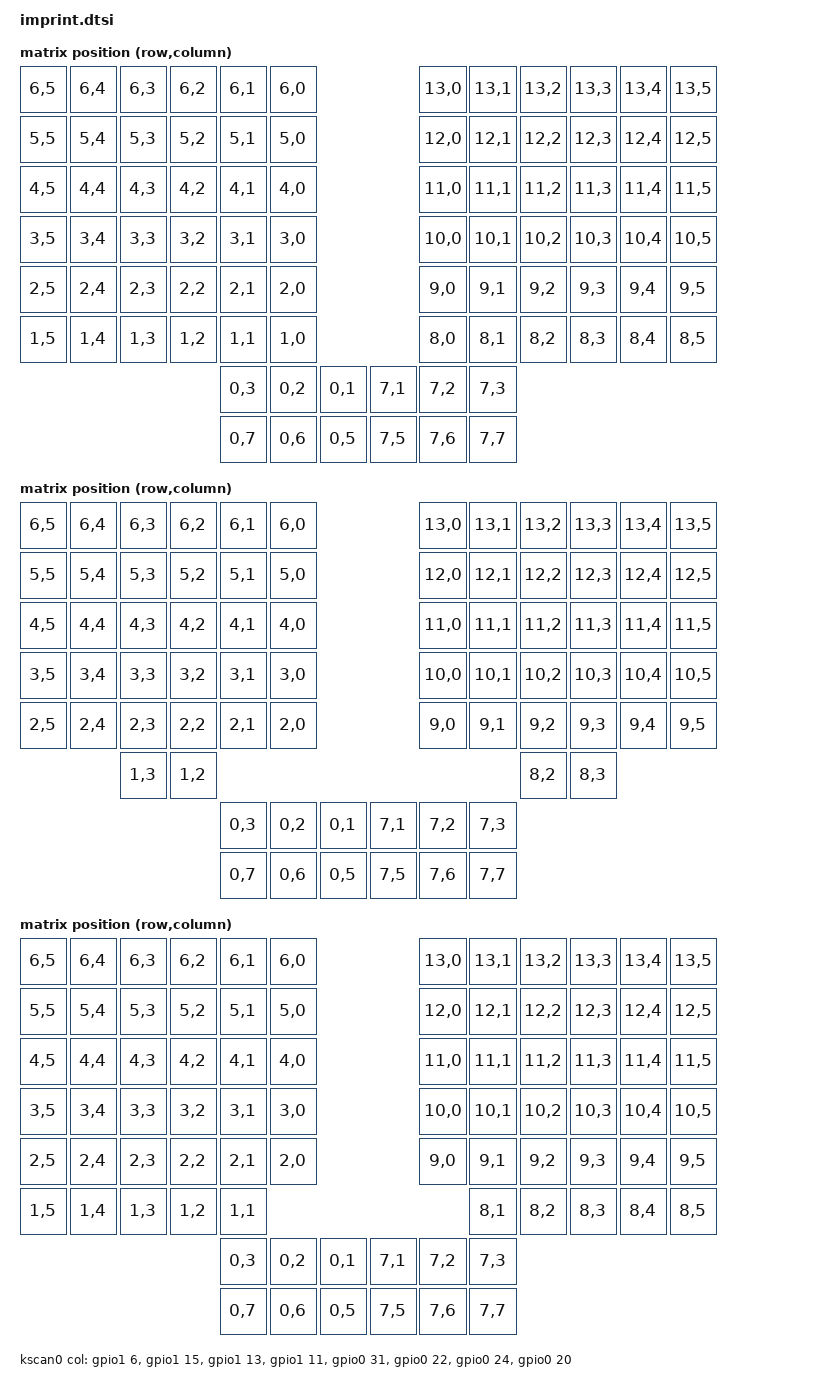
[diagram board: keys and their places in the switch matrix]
// Imprint shield devicetree include.
// Defines all matrix transforms and the keyboard scan (kscan) GPIO matrix.
// Trackball / PMW3610 nodes have been intentionally omitted — this build
// does not use trackballs.  If you add trackballs in the future, refer to
// the upstream Cyboard-DigitalTailor/zmk-keyboards repo for those nodes.

#include <dt-bindings/zmk/matrix_transform.h>

/ {
    chosen {
        zmk,kscan = &kscan0;
        // Active matrix transform is selected in config/imprint.keymap via:
        //   chosen { zmk,matrix_transform = &dactyl_manuform_number_row; };
        // Override here if you want a different default at the shield level.
        zmk,matrix_transform = &imprint_function_row;
    };

    // -----------------------------------------------------------------------
    // Matrix transforms
    // Each transform maps physical key positions (rows/cols from the GPIO
    // matrix) to logical key indices used by the keymap.  Only one transform
    // is active at a time; it is selected via the zmk,matrix_transform chosen
    // node, either here or in your keymap file.
    //
    // Rows 0-6   = left half
    // Rows 7-13  = right half (right overlay sets row-offset = <7>)
    // -----------------------------------------------------------------------

    // All key positions — 6 main columns + 6 thumb keys per side.
    default_transform: keymap_transform_0 {
        compatible = "zmk,matrix-transform";
        columns = <8>;
        rows = <14>;
        map = <
RC(6,5) RC(6,4) RC(6,3) RC(6,2) RC(6,1) RC(6,0)                           RC(13,0) RC(13,1) RC(13,2) RC(13,3) RC(13,4) RC(13,5)
RC(5,5) RC(5,4) RC(5,3) RC(5,2) RC(5,1) RC(5,0)                           RC(12,0) RC(12,1) RC(12,2) RC(12,3) RC(12,4) RC(12,5)
RC(4,5) RC(4,4) RC(4,3) RC(4,2) RC(4,1) RC(4,0)                           RC(11,0) RC(11,1) RC(11,2) RC(11,3) RC(11,4) RC(11,5)
RC(3,5) RC(3,4) RC(3,3) RC(3,2) RC(3,1) RC(3,0)                           RC(10,0) RC(10,1) RC(10,2) RC(10,3) RC(10,4) RC(10,5)
RC(2,5) RC(2,4) RC(2,3) RC(2,2) RC(2,1) RC(2,0)                           RC(9,0)  RC(9,1)  RC(9,2)  RC(9,3)  RC(9,4)  RC(9,5)
RC(1,5) RC(1,4) RC(1,3) RC(1,2) RC(1,1) RC(1,0)                           RC(8,0)  RC(8,1)  RC(8,2)  RC(8,3)  RC(8,4)  RC(8,5)
                                    RC(0,3) RC(0,2) RC(0,1)   RC(7,1) RC(7,2) RC(7,3)
                                    RC(0,7) RC(0,6) RC(0,5)   RC(7,5) RC(7,6) RC(7,7)
        >;
    };

    // Imprint body with function row on top + 2-key inner bottom row per side.
    imprint_function_row: keymap_transform_1 {
        compatible = "zmk,matrix-transform";
        columns = <8>;
        rows = <14>;
        map = <
RC(6,5) RC(6,4) RC(6,3) RC(6,2) RC(6,1) RC(6,0)                           RC(13,0) RC(13,1) RC(13,2) RC(13,3) RC(13,4) RC(13,5)
RC(5,5) RC(5,4) RC(5,3) RC(5,2) RC(5,1) RC(5,0)                           RC(12,0) RC(12,1) RC(12,2) RC(12,3) RC(12,4) RC(12,5)
RC(4,5) RC(4,4) RC(4,3) RC(4,2) RC(4,1) RC(4,0)                           RC(11,0) RC(11,1) RC(11,2) RC(11,3) RC(11,4) RC(11,5)
RC(3,5) RC(3,4) RC(3,3) RC(3,2) RC(3,1) RC(3,0)                           RC(10,0) RC(10,1) RC(10,2) RC(10,3) RC(10,4) RC(10,5)
RC(2,5) RC(2,4) RC(2,3) RC(2,2) RC(2,1) RC(2,0)                           RC(9,0)  RC(9,1)  RC(9,2)  RC(9,3)  RC(9,4)  RC(9,5)
                RC(1,3) RC(1,2)                                                             RC(8,2)  RC(8,3)
                                    RC(0,3) RC(0,2) RC(0,1)   RC(7,1) RC(7,2) RC(7,3)
                                    RC(0,7) RC(0,6) RC(0,5)   RC(7,5) RC(7,6) RC(7,7)
        >;
    };

    // Imprint body with function row + full 5-key bottom row per side.
    imprint_function_row_full_bottom_row: keymap_transform_2 {
        compatible = "zmk,matrix-transform";
        columns = <8>;
        rows = <14>;
        map = <
RC(6,5) RC(6,4) RC(6,3) RC(6,2) RC(6,1) RC(6,0)                           RC(13,0) RC(13,1) RC(13,2) RC(13,3) RC(13,4) RC(13,5)
RC(5,5) RC(5,4) RC(5,3) RC(5,2) RC(5,1) RC(5,0)                           RC(12,0) RC(12,1) RC(12,2) RC(12,3) RC(12,4) RC(12,5)
RC(4,5) RC(4,4) RC(4,3) RC(4,2) RC(4,1) RC(4,0)                           RC(11,0) RC(11,1) RC(11,2) RC(11,3) RC(11,4) RC(11,5)
RC(3,5) RC(3,4) RC(3,3) RC(3,2) RC(3,1) RC(3,0)                           RC(10,0) RC(10,1) RC(10,2) RC(10,3) RC(10,4) RC(10,5)
RC(2,5) RC(2,4) RC(2,3) RC(2,2) RC(2,1) RC(2,0)                           RC(9,0)  RC(9,1)  RC(9,2)  RC(9,3)  RC(9,4)  RC(9,5)
RC(1,5) RC(1,4) RC(1,3) RC(1,2) RC(1,1)                                            RC(8,1)  RC(8,2)  RC(8,3)  RC(8,4)  RC(8,5)
                                    RC(0,3) RC(0,2) RC(0,1)   RC(7,1) RC(7,2) RC(7,3)
                                    RC(0,7) RC(0,6) RC(0,5)   RC(7,5) RC(7,6) RC(7,7)
        >;
    };

    // Imprint body with function row + no bottom row.
    imprint_function_row_no_bottom_row: keymap_transform_3 {
        compatible = "zmk,matrix-transform";
        columns = <8>;
        rows = <14>;
        map = <
RC(6,5) RC(6,4) RC(6,3) RC(6,2) RC(6,1) RC(6,0)                           RC(13,0) RC(13,1) RC(13,2) RC(13,3) RC(13,4) RC(13,5)
RC(5,5) RC(5,4) RC(5,3) RC(5,2) RC(5,1) RC(5,0)                           RC(12,0) RC(12,1) RC(12,2) RC(12,3) RC(12,4) RC(12,5)
RC(4,5) RC(4,4) RC(4,3) RC(4,2) RC(4,1) RC(4,0)                           RC(11,0) RC(11,1) RC(11,2) RC(11,3) RC(11,4) RC(11,5)
RC(3,5) RC(3,4) RC(3,3) RC(3,2) RC(3,1) RC(3,0)                           RC(10,0) RC(10,1) RC(10,2) RC(10,3) RC(10,4) RC(10,5)
RC(2,5) RC(2,4) RC(2,3) RC(2,2) RC(2,1) RC(2,0)                           RC(9,0)  RC(9,1)  RC(9,2)  RC(9,3)  RC(9,4)  RC(9,5)
                                    RC(0,3) RC(0,2) RC(0,1)   RC(7,1) RC(7,2) RC(7,3)
                                    RC(0,7) RC(0,6) RC(0,5)   RC(7,5) RC(7,6) RC(7,7)
        >;
    };

    // Imprint body with number row on top + 2-key inner bottom row per side.
    imprint_number_row: keymap_transform_4 {
        compatible = "zmk,matrix-transform";
        columns = <8>;
        rows = <14>;
        map = <
RC(5,5) RC(5,4) RC(5,3) RC(5,2) RC(5,1) RC(5,0)                           RC(12,0) RC(12,1) RC(12,2) RC(12,3) RC(12,4) RC(12,5)
RC(4,5) RC(4,4) RC(4,3) RC(4,2) RC(4,1) RC(4,0)                           RC(11,0) RC(11,1) RC(11,2) RC(11,3) RC(11,4) RC(11,5)
RC(3,5) RC(3,4) RC(3,3) RC(3,2) RC(3,1) RC(3,0)                           RC(10,0) RC(10,1) RC(10,2) RC(10,3) RC(10,4) RC(10,5)
RC(2,5) RC(2,4) RC(2,3) RC(2,2) RC(2,1) RC(2,0)                           RC(9,0)  RC(9,1)  RC(9,2)  RC(9,3)  RC(9,4)  RC(9,5)
                RC(1,3) RC(1,2)                                                             RC(8,2)  RC(8,3)
                                    RC(0,3) RC(0,2) RC(0,1)   RC(7,1) RC(7,2) RC(7,3)
                                    RC(0,7) RC(0,6) RC(0,5)   RC(7,5) RC(7,6) RC(7,7)
        >;
    };

    // Imprint body with number row + full 5-key bottom row per side.
    imprint_number_row_full_bottom_row: keymap_transform_5 {
        compatible = "zmk,matrix-transform";
        columns = <8>;
        rows = <14>;
        map = <
RC(5,5) RC(5,4) RC(5,3) RC(5,2) RC(5,1) RC(5,0)                           RC(12,0) RC(12,1) RC(12,2) RC(12,3) RC(12,4) RC(12,5)
RC(4,5) RC(4,4) RC(4,3) RC(4,2) RC(4,1) RC(4,0)                           RC(11,0) RC(11,1) RC(11,2) RC(11,3) RC(11,4) RC(11,5)
RC(3,5) RC(3,4) RC(3,3) RC(3,2) RC(3,1) RC(3,0)                           RC(10,0) RC(10,1) RC(10,2) RC(10,3) RC(10,4) RC(10,5)
RC(2,5) RC(2,4) RC(2,3) RC(2,2) RC(2,1) RC(2,0)                           RC(9,0)  RC(9,1)  RC(9,2)  RC(9,3)  RC(9,4)  RC(9,5)
RC(1,5) RC(1,4) RC(1,3) RC(1,2) RC(1,1)                                            RC(8,1)  RC(8,2)  RC(8,3)  RC(8,4)  RC(8,5)
                                    RC(0,3) RC(0,2) RC(0,1)   RC(7,1) RC(7,2) RC(7,3)
                                    RC(0,7) RC(0,6) RC(0,5)   RC(7,5) RC(7,6) RC(7,7)
        >;
    };

    // Imprint body with number row + no bottom row.
    imprint_number_row_no_bottom_row: keymap_transform_6 {
        compatible = "zmk,matrix-transform";
        columns = <8>;
        rows = <14>;
        map = <
RC(5,5) RC(5,4) RC(5,3) RC(5,2) RC(5,1) RC(5,0)                           RC(12,0) RC(12,1) RC(12,2) RC(12,3) RC(12,4) RC(12,5)
RC(4,5) RC(4,4) RC(4,3) RC(4,2) RC(4,1) RC(4,0)                           RC(11,0) RC(11,1) RC(11,2) RC(11,3) RC(11,4) RC(11,5)
RC(3,5) RC(3,4) RC(3,3) RC(3,2) RC(3,1) RC(3,0)                           RC(10,0) RC(10,1) RC(10,2) RC(10,3) RC(10,4) RC(10,5)
RC(2,5) RC(2,4) RC(2,3) RC(2,2) RC(2,1) RC(2,0)                           RC(9,0)  RC(9,1)  RC(9,2)  RC(9,3)  RC(9,4)  RC(9,5)
                                    RC(0,3) RC(0,2) RC(0,1)   RC(7,1) RC(7,2) RC(7,3)
                                    RC(0,7) RC(0,6) RC(0,5)   RC(7,5) RC(7,6) RC(7,7)
        >;
    };

    // Imprint body, letters-only (no number/function row) + 2-key inner bottom row.
    imprint_letters_only: keymap_transform_7 {
        compatible = "zmk,matrix-transform";
        columns = <8>;
        rows = <14>;
        map = <
RC(4,5) RC(4,4) RC(4,3) RC(4,2) RC(4,1) RC(4,0)                           RC(11,0) RC(11,1) RC(11,2) RC(11,3) RC(11,4) RC(11,5)
RC(3,5) RC(3,4) RC(3,3) RC(3,2) RC(3,1) RC(3,0)                           RC(10,0) RC(10,1) RC(10,2) RC(10,3) RC(10,4) RC(10,5)
RC(2,5) RC(2,4) RC(2,3) RC(2,2) RC(2,1) RC(2,0)                           RC(9,0)  RC(9,1)  RC(9,2)  RC(9,3)  RC(9,4)  RC(9,5)
                RC(1,3) RC(1,2)                                                             RC(8,2)  RC(8,3)
                                    RC(0,3) RC(0,2) RC(0,1)   RC(7,1) RC(7,2) RC(7,3)
                                    RC(0,7) RC(0,6) RC(0,5)   RC(7,5) RC(7,6) RC(7,7)
        >;
    };

    // Imprint body, letters-only + full 5-key bottom row per side.
    imprint_letters_only_full_bottom_row: keymap_transform_8 {
        compatible = "zmk,matrix-transform";
        columns = <8>;
        rows = <14>;
        map = <
RC(4,5) RC(4,4) RC(4,3) RC(4,2) RC(4,1) RC(4,0)                           RC(11,0) RC(11,1) RC(11,2) RC(11,3) RC(11,4) RC(11,5)
RC(3,5) RC(3,4) RC(3,3) RC(3,2) RC(3,1) RC(3,0)                           RC(10,0) RC(10,1) RC(10,2) RC(10,3) RC(10,4) RC(10,5)
RC(2,5) RC(2,4) RC(2,3) RC(2,2) RC(2,1) RC(2,0)                           RC(9,0)  RC(9,1)  RC(9,2)  RC(9,3)  RC(9,4)  RC(9,5)
RC(1,5) RC(1,4) RC(1,3) RC(1,2) RC(1,1)                                            RC(8,1)  RC(8,2)  RC(8,3)  RC(8,4)  RC(8,5)
                                    RC(0,3) RC(0,2) RC(0,1)   RC(7,1) RC(7,2) RC(7,3)
                                    RC(0,7) RC(0,6) RC(0,5)   RC(7,5) RC(7,6) RC(7,7)
        >;
    };

    // Imprint body, letters-only + no bottom row.
    imprint_letters_only_no_bottom_row: keymap_transform_9 {
        compatible = "zmk,matrix-transform";
        columns = <8>;
        rows = <14>;
        map = <
RC(4,5) RC(4,4) RC(4,3) RC(4,2) RC(4,1) RC(4,0)                           RC(11,0) RC(11,1) RC(11,2) RC(11,3) RC(11,4) RC(11,5)
RC(3,5) RC(3,4) RC(3,3) RC(3,2) RC(3,1) RC(3,0)                           RC(10,0) RC(10,1) RC(10,2) RC(10,3) RC(10,4) RC(10,5)
RC(2,5) RC(2,4) RC(2,3) RC(2,2) RC(2,1) RC(2,0)                           RC(9,0)  RC(9,1)  RC(9,2)  RC(9,3)  RC(9,4)  RC(9,5)
                                    RC(0,3) RC(0,2) RC(0,1)   RC(7,1) RC(7,2) RC(7,3)
                                    RC(0,7) RC(0,6) RC(0,5)   RC(7,5) RC(7,6) RC(7,7)
        >;
    };

    // Dactyl Manuform body with number row + 4-key bottom row per side.
    // THIS IS THE ACTIVE TRANSFORM for this build — selected in config/imprint.keymap.
    dactyl_manuform_number_row: keymap_transform_10 {
        compatible = "zmk,matrix-transform";
        columns = <8>;
        rows = <14>;
        map = <
RC(5,5) RC(5,4) RC(5,3) RC(5,2) RC(5,1) RC(5,0)                           RC(12,0) RC(12,1) RC(12,2) RC(12,3) RC(12,4) RC(12,5)
RC(4,5) RC(4,4) RC(4,3) RC(4,2) RC(4,1) RC(4,0)                           RC(11,0) RC(11,1) RC(11,2) RC(11,3) RC(11,4) RC(11,5)
RC(3,5) RC(3,4) RC(3,3) RC(3,2) RC(3,1) RC(3,0)                           RC(10,0) RC(10,1) RC(10,2) RC(10,3) RC(10,4) RC(10,5)
RC(2,5) RC(2,4) RC(2,3) RC(2,2) RC(2,1) RC(2,0)                           RC(9,0)  RC(9,1)  RC(9,2)  RC(9,3)  RC(9,4)  RC(9,5)
RC(1,5) RC(1,4) RC(1,3) RC(1,2)                                                             RC(8,2)  RC(8,3)  RC(8,4)  RC(8,5)
                                    RC(0,3) RC(0,2) RC(0,1)   RC(7,1) RC(7,2) RC(7,3)
                                    RC(0,7) RC(0,6) RC(0,5)   RC(7,5) RC(7,6) RC(7,7)
        >;
    };

    // Dactyl single-arc body, letters-only + 4-key bottom row per side.
    dactyl_single_arc_letters_only: keymap_transform_11 {
        compatible = "zmk,matrix-transform";
        columns = <8>;
        rows = <14>;
        map = <
RC(4,5) RC(4,4) RC(4,3) RC(4,2) RC(4,1) RC(4,0)                           RC(11,0) RC(11,1) RC(11,2) RC(11,3) RC(11,4) RC(11,5)
RC(3,5) RC(3,4) RC(3,3) RC(3,2) RC(3,1) RC(3,0)                           RC(10,0) RC(10,1) RC(10,2) RC(10,3) RC(10,4) RC(10,5)
RC(2,5) RC(2,4) RC(2,3) RC(2,2) RC(2,1) RC(2,0)                           RC(9,0)  RC(9,1)  RC(9,2)  RC(9,3)  RC(9,4)  RC(9,5)
RC(1,5) RC(1,4) RC(1,3) RC(1,2)                                                             RC(8,2)  RC(8,3)  RC(8,4)  RC(8,5)
                                    RC(0,3) RC(0,2) RC(0,1)   RC(7,1) RC(7,2) RC(7,3)
        >;
    };

    // Dactyl single-arc body with number row + 4-key bottom row per side.
    dactyl_single_arc_number_row: keymap_transform_12 {
        compatible = "zmk,matrix-transform";
        columns = <8>;
        rows = <14>;
        map = <
RC(5,5) RC(5,4) RC(5,3) RC(5,2) RC(5,1) RC(5,0)                           RC(12,0) RC(12,1) RC(12,2) RC(12,3) RC(12,4) RC(12,5)
RC(4,5) RC(4,4) RC(4,3) RC(4,2) RC(4,1) RC(4,0)                           RC(11,0) RC(11,1) RC(11,2) RC(11,3) RC(11,4) RC(11,5)
RC(3,5) RC(3,4) RC(3,3) RC(3,2) RC(3,1) RC(3,0)                           RC(10,0) RC(10,1) RC(10,2) RC(10,3) RC(10,4) RC(10,5)
RC(2,5) RC(2,4) RC(2,3) RC(2,2) RC(2,1) RC(2,0)                           RC(9,0)  RC(9,1)  RC(9,2)  RC(9,3)  RC(9,4)  RC(9,5)
RC(1,5) RC(1,4) RC(1,3) RC(1,2)                                                             RC(8,2)  RC(8,3)  RC(8,4)  RC(8,5)
                                    RC(0,3) RC(0,2) RC(0,1)   RC(7,1) RC(7,2) RC(7,3)
        >;
    };

    // Legacy single-arc Imprint body (older hardware revision).
    legacy_single_arc_imprint: keymap_transform_13 {
        compatible = "zmk,matrix-transform";
        columns = <7>;
        rows = <14>;
        map = <
RC(6,6) RC(6,5) RC(6,4) RC(6,3) RC(6,2) RC(6,1)                 RC(13,1) RC(13,2) RC(13,3) RC(13,4) RC(13,5) RC(13,6)
RC(5,6) RC(5,5) RC(5,4) RC(5,3) RC(5,2) RC(5,1)                 RC(12,1) RC(12,2) RC(12,3) RC(12,4) RC(12,5) RC(12,6)
RC(4,6) RC(4,5) RC(4,4) RC(4,3) RC(4,2) RC(4,1)                 RC(11,1) RC(11,2) RC(11,3) RC(11,4) RC(11,5) RC(11,6)
RC(3,6) RC(3,5) RC(3,4) RC(3,3) RC(3,2) RC(3,1)                 RC(10,1) RC(10,2) RC(10,3) RC(10,4) RC(10,5) RC(10,6)
RC(2,6) RC(2,5) RC(2,4) RC(2,3) RC(2,2) RC(2,1)                 RC(9,1)  RC(9,2)  RC(9,3)  RC(9,4)  RC(9,5)  RC(9,6)
                RC(1,4) RC(1,3) RC(1,2) RC(1,1) RC(1,0) RC(8,0) RC(8,1)  RC(7,2)  RC(8,3)  RC(8,4)
        >;
    };

    // -----------------------------------------------------------------------
    // Keyboard scan (GPIO matrix)
    // 14 rows x 8 columns, row-to-column diode direction.
    // Column GPIOs are shared between both halves.
    // Row GPIOs are assigned per-side in imprint_left.overlay / imprint_right.overlay.
    // wakeup-source enables keypress to wake the MCU from deep sleep.
    // -----------------------------------------------------------------------
    kscan0: kscan {
        compatible = "zmk,kscan-gpio-matrix";
        label = "KSCAN";

        wakeup-source;

        diode-direction = "row2col";
        col-gpios
            = <&gpio1 6  (GPIO_ACTIVE_HIGH | GPIO_PULL_DOWN)>  // col0
            , <&gpio1 15 (GPIO_ACTIVE_HIGH | GPIO_PULL_DOWN)>  // col1
            , <&gpio1 13 (GPIO_ACTIVE_HIGH | GPIO_PULL_DOWN)>  // col2
            , <&gpio1 11 (GPIO_ACTIVE_HIGH | GPIO_PULL_DOWN)>  // col3
            , <&gpio0 31 (GPIO_ACTIVE_HIGH | GPIO_PULL_DOWN)>  // col4
            , <&gpio0 22 (GPIO_ACTIVE_HIGH | GPIO_PULL_DOWN)>  // col5
            , <&gpio0 24 (GPIO_ACTIVE_HIGH | GPIO_PULL_DOWN)>  // col6
            , <&gpio0 20 (GPIO_ACTIVE_HIGH | GPIO_PULL_DOWN)>  // col7
            ;
    };
};
